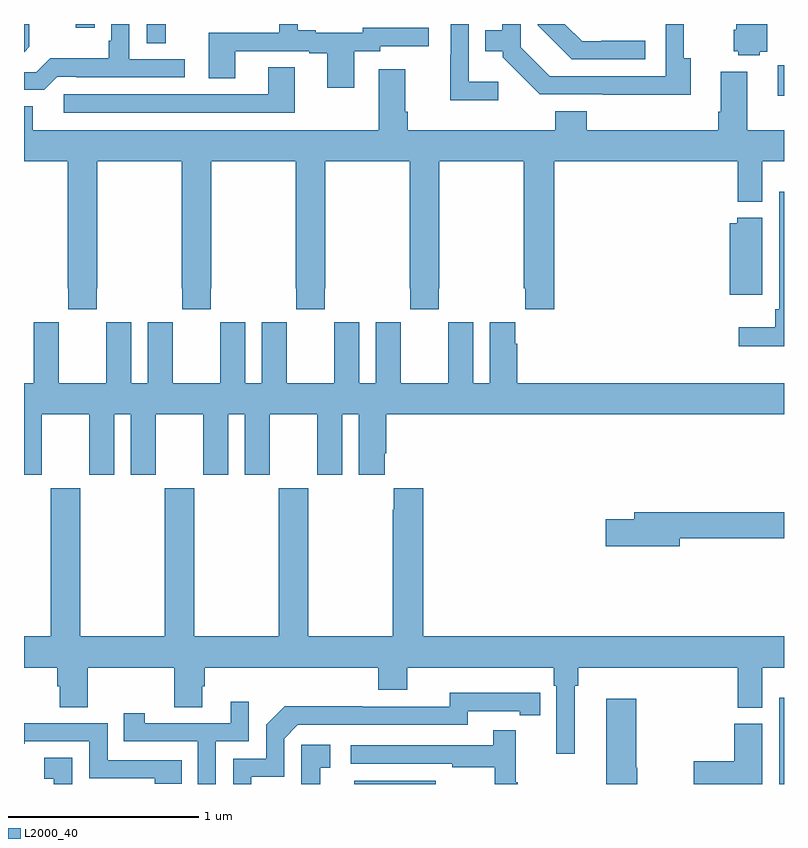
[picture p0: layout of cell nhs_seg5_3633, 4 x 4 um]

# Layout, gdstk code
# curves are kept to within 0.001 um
import gdstk
lib = gdstk.Library(unit=1e-6, precision=1e-09)
def R(c, l, rs):  # rectangles x0, y0, x1, y1
    for r in rs: c.add(gdstk.rectangle(r[:2], r[2:], *l))
def P(c, l, *ps):  # polygons
    for p in ps: c.add(gdstk.Polygon(p, *l))
L2000_40 = (2000, 40)

nhs_seg5_3633 = lib.new_cell('nhs_seg5_3633')
R(nhs_seg5_3633, L2000_40, [(326.738,870.799,327.166,870.817), (328.974,870.799,329,871.252), (328.967,874.422,329,874.583), (325.647,874.699,325.746,874.799), (325.272,874.779,325.373,874.799)])
P(nhs_seg5_3633, L2000_40, [(327.496,874.495),(327.342,874.495),(327.342,874.799),(327.246,874.799),(327.246,874.637),(327.244,874.637),(327.244,874.397),(327.496,874.397)],
  [(326.737,874.656),(326.874,874.656),(326.874,874.683),(327.13,874.683),(327.13,874.779),(326.784,874.779),(326.784,874.752),(326.536,874.752),(326.536,874.765),(326.44,874.765),(326.44,874.799),(326.343,874.799),(326.343,874.752),(325.973,874.752),(325.973,874.513),(326.113,874.513),(326.113,874.656),(326.501,874.656),(326.501,874.644),(326.597,874.644),(326.597,874.464),(326.737,874.464)],
  [(325.028,874.679),(325.028,874.799),(325,874.799),(325,874.651)],
  [(328.27,874.71),(328.039,874.71),(328.039,874.707),(327.939,874.707),(327.847,874.799),(327.705,874.799),(327.705,874.793),(327.884,874.614),(328.27,874.614)],
  [(328.51,874.618),(328.473,874.618),(328.473,874.799),(328.377,874.799),(328.377,874.524),(327.768,874.524),(327.615,874.677),(327.615,874.799),(327.518,874.799),(327.518,874.765),(327.427,874.765),(327.427,874.655),(327.519,874.655),(327.519,874.623),(327.714,874.428),(328.51,874.427)],
  [(328.872,874.652),(328.912,874.652),(328.912,874.799),(328.748,874.799),(328.748,874.77),(328.736,874.77),(328.736,874.656),(328.758,874.656),(328.758,874.634),(328.872,874.634)],
  [(325.176,874.521),(325.276,874.521),(325.276,874.518),(325.846,874.518),(325.846,874.614),(325.554,874.614),(325.554,874.799),(325.458,874.799),(325.458,874.711),(325.446,874.711),(325.446,874.618),(325.138,874.618),(325.065,874.545),(325,874.545),(325,874.452),(325.107,874.452)],
  [(326.425,874.571),(326.285,874.571),(326.285,874.428),(325.209,874.428),(325.209,874.332),(326.425,874.332)],
  [(328.757,873.863),(328.885,873.863),(328.885,874.076),(329,874.076),(329,874.24),(328.807,874.24),(328.807,874.549),(328.667,874.549),(328.667,874.336),(328.655,874.336),(328.655,874.24),(327.962,874.24),(327.962,874.339),(327.797,874.339),(327.797,874.24),(327.02,874.24),(327.02,874.336),(327.007,874.336),(327.007,874.561),(326.867,874.561),(326.867,874.24),(325.045,874.24),(325.045,874.367),(325,874.367),(325,874.076),(325.231,874.076),(325.231,873.409),(325.233,873.409),(325.233,873.297),(325.383,873.297),(325.383,873.409),(325.386,873.409),(325.386,874.076),(325.831,874.076),(325.831,873.409),(325.833,873.409),(325.833,873.297),(325.983,873.297),(325.983,873.409),(325.986,873.409),(325.986,874.076),(326.431,874.076),(326.431,873.409),(326.433,873.409),(326.433,873.297),(326.583,873.297),(326.583,873.409),(326.586,873.409),(326.586,874.076),(327.031,874.076),(327.031,873.409),(327.033,873.409),(327.033,873.297),(327.183,873.297),(327.183,873.409),(327.186,873.409),(327.186,874.076),(327.631,874.076),(327.631,873.409),(327.637,873.409),(327.637,873.297),(327.791,873.297),(327.791,874.076),(328.757,874.076)],
  [(329,873.916),(328.974,873.916),(328.974,873.298),(328.954,873.298),(328.954,873.202),(328.761,873.202),(328.761,873.104),(329,873.104)],
  [(328.885,873.778),(328.755,873.778),(328.755,873.75),(328.715,873.75),(328.715,873.374),(328.885,873.374)],
  [(325.093,872.744),(325.343,872.744),(325.343,872.427),(325.474,872.427),(325.474,872.744),(325.562,872.744),(325.562,872.427),(325.693,872.427),(325.693,872.744),(325.943,872.744),(325.943,872.427),(326.074,872.427),(326.074,872.744),(326.162,872.744),(326.162,872.427),(326.293,872.427),(326.293,872.744),(326.543,872.744),(326.543,872.427),(326.674,872.427),(326.674,872.744),(326.762,872.744),(326.762,872.427),(326.899,872.427),(326.899,872.539),(326.906,872.539),(326.906,872.744),(329,872.744),(329,872.908),(327.596,872.908),(327.596,873.116),(327.586,873.116),(327.586,873.229),(327.452,873.229),(327.452,872.908),(327.364,872.908),(327.364,873.229),(327.234,873.229),(327.234,873.116),(327.233,873.116),(327.233,872.908),(326.983,872.908),(326.983,873.116),(326.982,873.116),(326.982,873.229),(326.852,873.229),(326.852,872.908),(326.764,872.908),(326.764,873.229),(326.634,873.229),(326.634,873.116),(326.633,873.116),(326.633,872.908),(326.383,872.908),(326.383,873.116),(326.382,873.116),(326.382,873.229),(326.252,873.229),(326.252,872.908),(326.164,872.908),(326.164,873.229),(326.034,873.229),(326.034,873.116),(326.033,873.116),(326.033,872.908),(325.783,872.908),(325.783,873.116),(325.782,873.116),(325.782,873.229),(325.652,873.229),(325.652,872.908),(325.564,872.908),(325.564,873.229),(325.434,873.229),(325.434,873.116),(325.433,873.116),(325.433,872.908),(325.183,872.908),(325.183,873.116),(325.182,873.116),(325.182,873.229),(325.052,873.229),(325.052,872.908),(325,872.908),(325,872.427),(325.093,872.427)],
  [(327.898,871.316),(327.917,871.316),(327.917,871.412),(328.757,871.412),(328.757,871.201),(328.885,871.201),(328.885,871.412),(329,871.412),(329,871.576),(327.101,871.576),(327.101,872.356),(326.945,872.356),(326.945,872.243),(326.941,872.243),(326.941,871.576),(326.496,871.576),(326.496,872.356),(326.341,872.356),(326.341,871.576),(325.896,871.576),(325.896,872.356),(325.741,872.356),(325.741,871.576),(325.296,871.576),(325.296,872.356),(325.141,872.356),(325.141,871.576),(325,871.576),(325,871.412),(325.175,871.412),(325.175,871.314),(325.187,871.314),(325.187,871.204),(325.335,871.204),(325.335,871.412),(325.792,871.412),(325.792,871.204),(325.939,871.204),(325.939,871.314),(325.952,871.314),(325.952,871.412),(326.864,871.412),(326.864,871.295),(327.016,871.295),(327.016,871.412),(327.788,871.412),(327.788,871.316),(327.801,871.316),(327.801,870.957),(327.898,870.957)],
  [(328.45,872.092),(329,872.092),(329,872.228),(328.211,872.228),(328.211,872.192),(328.062,872.192),(328.062,872.05),(328.45,872.05)],
  [(326.197,870.837),(326.37,870.837),(326.37,871.038),(326.442,871.11),(327.336,871.11),(327.336,871.182),(327.608,871.182),(327.608,871.162),(327.716,871.162),(327.716,871.278),(327.24,871.279),(327.24,871.206),(326.78,871.206),(326.78,871.208),(326.372,871.208),(326.274,871.11),(326.274,870.933),(326.1,870.933),(326.1,870.799),(326.197,870.799)],
  [(328.228,870.885),(328.223,870.885),(328.223,871.249),(328.064,871.249),(328.064,870.799),(328.228,870.799)],
  [(326.01,871.023),(326.184,871.023),(326.184,871.231),(326.087,871.231),(326.087,871.119),(325.636,871.119),(325.636,871.171),(325.525,871.171),(325.525,871.023),(325.914,871.023),(325.914,870.799),(326.01,870.799)],
  [(325.829,870.924),(325.44,870.924),(325.44,871.119),(325,871.119),(325,871.011),(325.003,871.011),(325.003,871.023),(325.344,871.023),(325.344,870.828),(325.689,870.828),(325.689,870.801),(325.829,870.801)],
  [(328.885,871.116),(328.739,871.116),(328.739,870.92),(328.524,870.92),(328.524,870.799),(328.885,870.799)],
  [(327.598,870.809),(327.587,870.809),(327.587,871.081),(327.469,871.081),(327.469,871.002),(326.721,871.002),(326.721,870.906),(327.253,870.906),(327.253,870.886),(327.477,870.886),(327.477,870.799),(327.598,870.799)],
  [(326.558,870.885),(326.611,870.885),(326.611,871.006),(326.46,871.006),(326.46,870.799),(326.558,870.799)],
  [(325.254,870.937),(325.107,870.937),(325.107,870.827),(325.156,870.827),(325.156,870.799),(325.254,870.799)])

lib.write_gds('nhs_seg5_3633.gds')
